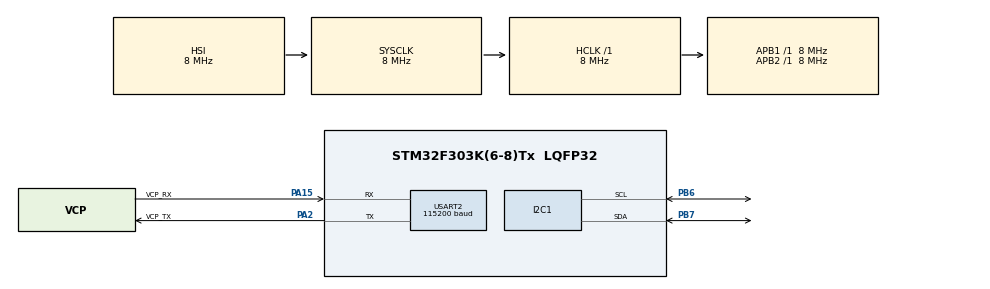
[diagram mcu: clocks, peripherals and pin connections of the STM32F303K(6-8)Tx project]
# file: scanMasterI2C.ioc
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Dma.I2C1_RX.0.Direction=DMA_PERIPH_TO_MEMORY
Dma.I2C1_RX.0.Instance=DMA1_Channel3
Dma.I2C1_RX.0.MemDataAlignment=DMA_MDATAALIGN_BYTE
Dma.I2C1_RX.0.MemInc=DMA_MINC_ENABLE
Dma.I2C1_RX.0.Mode=DMA_NORMAL
Dma.I2C1_RX.0.PeriphDataAlignment=DMA_PDATAALIGN_BYTE
Dma.I2C1_RX.0.PeriphInc=DMA_PINC_DISABLE
Dma.I2C1_RX.0.Priority=DMA_PRIORITY_LOW
Dma.I2C1_TX.1.Direction=DMA_MEMORY_TO_PERIPH
Dma.I2C1_TX.1.Instance=DMA1_Channel2
Dma.I2C1_TX.1.MemDataAlignment=DMA_MDATAALIGN_BYTE
Dma.I2C1_TX.1.MemInc=DMA_MINC_ENABLE
Dma.I2C1_TX.1.Mode=DMA_NORMAL
Dma.I2C1_TX.1.PeriphDataAlignment=DMA_PDATAALIGN_BYTE
Dma.I2C1_TX.1.PeriphInc=DMA_PINC_DISABLE
Dma.I2C1_TX.1.Priority=DMA_PRIORITY_LOW
Dma.Request0=I2C1_RX
Dma.Request1=I2C1_TX
I2C1.Timing=0x00201D2B
Mcu.Family=STM32F3
Mcu.Name=STM32F303K(6-8)Tx
Mcu.Package=LQFP32
NVIC.DMA1_Channel2_IRQn=true\:0\:0\:false\:false\:true\:false\:true\:true
NVIC.DMA1_Channel3_IRQn=true\:0\:0\:false\:false\:true\:false\:true\:true
NVIC.I2C1_ER_IRQn=true\:0\:0\:false\:false\:true\:true\:true\:true
NVIC.I2C1_EV_IRQn=true\:0\:0\:false\:false\:true\:true\:true\:true
NVIC.PriorityGroup=NVIC_PRIORITYGROUP_4
PA13.GPIO_Label=SWDIO
PA13.Mode=Serial_Wire
PA13.Signal=SYS_JTMS-SWDIO
PA14.GPIO_Label=SWCLK
PA14.Mode=Serial_Wire
PA14.Signal=SYS_JTCK-SWCLK
PA15.GPIO_Label=VCP_RX
PA15.Mode=Asynchronous
PA15.Signal=USART2_RX
PA2.GPIO_Label=VCP_TX
PA2.Mode=Asynchronous
PA2.Signal=USART2_TX
PB6.GPIO_Pu=GPIO_PULLUP
PB6.Mode=I2C
PB6.Signal=I2C1_SCL
PB7.GPIO_Pu=GPIO_PULLUP
PB7.Mode=I2C
PB7.Signal=I2C1_SDA
PF0\ /\ OSC_IN.GPIO_Label=MCO
PF0\ /\ OSC_IN.Mode=HSE-External-Clock-Source
PF0\ /\ OSC_IN.Signal=RCC_OSC_IN
ProjectManager.HeapSize=0x200
ProjectManager.StackSize=0x400
ProjectManager.TargetToolchain=STM32CubeIDE
RCC.AHBFreq_Value=8000000
RCC.APB1Freq_Value=8000000
RCC.APB2Freq_Value=8000000
RCC.CortexFreq_Value=8000000
RCC.HSE_VALUE=8000000
RCC.HSI_VALUE=8000000
RCC.SYSCLKFreq_VALUE=8000000
USART2.BaudRate=115200
USART2.VirtualMode-Asynchronous=VM_ASYNC
board=NUCLEO-F303K8

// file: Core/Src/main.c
/* USER CODE BEGIN Header */
/**
 ******************************************************************************
 * @file           : main.c
 * @brief          : Main program body
 ******************************************************************************
 * @attention
 *
 * Copyright (c) 2026 STMicroelectronics.
 * All rights reserved.
 *
 * This software is licensed under terms that can be found in the LICENSE file
 * in the root directory of this software component.
 * If no LICENSE file comes with this software, it is provided AS-IS.
 *
 ******************************************************************************
 */
/* USER CODE END Header */
#include "main.h"
#include "dma.h"
#include "i2c.h"
#include "usart.h"
#include "gpio.h"

/* USER CODE BEGIN Includes */
#include <stdio.h>
#include <string.h>

/* USER CODE END Includes */

/* USER CODE BEGIN PTD */

// ONLY REAS REGISTERS
#define POWERMGT_REG_SENSE_CNT		(10)
// ONLY REAS REGISTERS
#define POWERMGT_REG_CTL_CNT		(5) // 0x0A..0x0D,0x0F 5 control registers (read/write)

typedef struct powerMgmType {
	uint16_t sense[10];
	uint8_t control[8];
} tPowerMgmType;

/* USER CODE END PTD */

/* USER CODE BEGIN PD */
#define POWERMGT_REG_SIZE		(2)
#define POWERMGT_REG_READ_CNT   (POWERMGT_REG_SENSE_CNT +POWERMGT_REG_CTL_CNT)

// power mgt - STMicro
#define POWERMGT_I2C_ADDR		(0x16<<1)
// RTC
//#define POWERMGT_I2C_ADDR		(0x51<<1)
// TODO
//#define POWERMGT_I2C_ADDR		(0x57<<1)
// IMU
//#define POWERMGT_I2C_ADDR		(0x69<<1)

#define POWERMGT_REG_TEMP		(0x08)
/* USER CODE END PD */

/* USER CODE BEGIN PV */

tPowerMgmType regsSetPowerMan = { 0 };

const uint8_t hello[] = "\nhellorld";
const uint8_t timeStamp[] = "\n.";
/* USER CODE END PV */

void SystemClock_Config(void);

void showPowerCtlRegs(void) {
	// Register names per Power Controller user guide V4.0
	static const char *senseName[10] = {
		"Sense_CM4", "Sense_Lidar1", "Sense_Lidar2", "Sense_CanBus", "Sense_Accessory",
		"Sense_5V", "Sense_Batt", "Sense_MainPwr", "Temp", "VRefInt"
	};
	static const char *ctlName[6] = {
		"Enable_Lidar1", "Enable_Lidar2", "Enable_CanBus", "Enable_CM4", "Switch", "Voltage_Ctrl"
	};
	static const char *state[5] = { "", "OFF", "ON", "Starting", "Shutting down" };

	printf("\n=== Power Management Registers ===\n");
	printf("UID: %08lX-%08lX-%08lX\n", HAL_GetUIDw2(), HAL_GetUIDw1(), HAL_GetUIDw0());

	// Sense registers (0x00-0x09)
	printf("\n[Sense Registers]\n");
	for (uint8_t i = 0; i < 10; i++) {
		uint16_t raw = regsSetPowerMan.sense[i];
		if (i == 0x08) {
			// Temperature: signed, value x100
			int16_t t = (int16_t) raw;
			int16_t a = (t < 0) ? -t : t;
			printf("0x%02X %-18s = %s%d.%02d °C\n", i, senseName[i], (t < 0) ? "-" : "", a / 100, a % 100);
		} else if (i == 0x09) {
			printf("0x%02X %-18s = 0x%04X (do not use)\n", i, senseName[i], raw);
		} else {
			// Voltage: value x100
			printf("0x%02X %-18s = %u.%02u V\n", i, senseName[i], raw / 100, raw % 100);
		}
	}

	// Control registers (0x0A-0x0F)
	printf("\n[Control Registers]\n");
	for (uint8_t i = 0; i < 4; i++) {
		uint8_t val = regsSetPowerMan.control[i];
		printf("0x%02X %-18s = 0x%02X (%s)\n", 0x0A + i, ctlName[i], val, (val < 5) ? state[val] : "?");
	}

	// Register 0x0E: Switch
	{
		uint8_t val = regsSetPowerMan.control[4];
		bool P_bp = (val & 0x01) != 0;
		bool M_bp = (val & 0x10) != 0;
		printf("0x0E %-18s = 0x%02X (P_bp=%d, M_bp=%d)\n", ctlName[4], val, P_bp, M_bp);
	}

	// Register 0x0F: Voltage Control
	{
		uint8_t val = regsSetPowerMan.control[5];
		printf("0x0F %-18s = 0x%02X (%s)\n", ctlName[5], val, (val < 5) ? state[val] : "?");
	}

	printf("\n");
}

/* USER CODE BEGIN 0 */
int _write(int file, char *ptr, int len) {
	// Translate LF -> CRLF so a raw serial terminal returns to column 0
	// (otherwise lines "staircase" diagonally across the screen).
	for (int i = 0; i < len; i++) {
		if (ptr[i] == '\n') {
			uint8_t cr = '\r';
			HAL_UART_Transmit(&huart2, &cr, 1, HAL_MAX_DELAY);
		}
		HAL_UART_Transmit(&huart2, (uint8_t*) &ptr[i], 1, HAL_MAX_DELAY);
	}
	return len;
}

void HAL_I2C_MasterRxCpltCallback(I2C_HandleTypeDef *hi2c) {
	showPowerCtlRegs();
}

/* USER CODE END 0 */

int main(void) {

	/* MCU Configuration--------------------------------------------------------*/

	/* Reset of all peripherals, Initializes the Flash interface and the Systick. */
	HAL_Init();

	/* Configure the system clock */
	SystemClock_Config();

	/* Initialize all configured peripherals */
	MX_GPIO_Init();
	MX_DMA_Init();
	MX_I2C1_Init();
	MX_USART2_UART_Init();

	/* Infinite loop */
	/* USER CODE BEGIN WHILE */
	while (1) {

		// Clear the buffer before each read so a failed/absent slave shows zeros,
		// not the previous (stale) values.
		memset(&regsSetPowerMan, 0, sizeof(regsSetPowerMan));
		// Presence check: send the address only and look for an ACK. If the slave
		// truly NACKs (powered off and not parasitically driven), report it and
		// skip the read so no stale block is reprinted.
		if (HAL_I2C_IsDeviceReady(&hi2c1, POWERMGT_I2C_ADDR, 2, 10) != HAL_OK) {
			printf("\nI2C 0x%02X not responding", POWERMGT_I2C_ADDR >> 1);
		} else {
			HAL_I2C_Master_Receive_DMA(&hi2c1, POWERMGT_I2C_ADDR, (uint8_t*) &regsSetPowerMan, sizeof(regsSetPowerMan));
		}
//	  for(uint8_t iter = 0; iter <16; iter=iter+1)
//	  {

//		  HAL_I2C_Mem_Read(&hi2c1, POWERMGT_I2C_ADDR, iter,
//				  POWERMGT_REG_SIZE, (uint8_t *)&regsSetPowerMan[iter], POWERMGT_REG_SIZE, HAL_MAX_DELAY);

//		  HAL_I2C_Master_Transmit(&hi2c1, POWERMGT_I2C_ADDR, &iter, sizeof(iter), HAL_MAX_DELAY);
//
//		  HAL_I2C_Master_Receive(&hi2c1, POWERMGT_I2C_ADDR, (uint8_t *)&regsSetPowerMan[iter], POWERMGT_REG_SIZE, HAL_MAX_DELAY);

//	  }

//	  showPowerCtlRegs();
		/* USER CODE END WHILE */

		/* USER CODE BEGIN 3 */
		printf("%s", timeStamp);
		HAL_Delay(1000);
	}
	/* USER CODE END 3 */
}

void SystemClock_Config(void) {
	RCC_OscInitTypeDef RCC_OscInitStruct = { 0 };
	RCC_ClkInitTypeDef RCC_ClkInitStruct = { 0 };
	RCC_PeriphCLKInitTypeDef PeriphClkInit = { 0 };

	/** Initializes the RCC Oscillators according to the specified parameters
	 * in the RCC_OscInitTypeDef structure.
	 */
	RCC_OscInitStruct.OscillatorType = RCC_OSCILLATORTYPE_HSI;
	RCC_OscInitStruct.HSIState = RCC_HSI_ON;
	RCC_OscInitStruct.HSICalibrationValue = RCC_HSICALIBRATION_DEFAULT;
	RCC_OscInitStruct.PLL.PLLState = RCC_PLL_NONE;
	if (HAL_RCC_OscConfig(&RCC_OscInitStruct) != HAL_OK) {
		Error_Handler();
	}

	/** Initializes the CPU, AHB and APB buses clocks
	 */
	RCC_ClkInitStruct.ClockType = RCC_CLOCKTYPE_HCLK | RCC_CLOCKTYPE_SYSCLK | RCC_CLOCKTYPE_PCLK1 | RCC_CLOCKTYPE_PCLK2;
	RCC_ClkInitStruct.SYSCLKSource = RCC_SYSCLKSOURCE_HSI;
	RCC_ClkInitStruct.AHBCLKDivider = RCC_SYSCLK_DIV1;
	RCC_ClkInitStruct.APB1CLKDivider = RCC_HCLK_DIV1;
	RCC_ClkInitStruct.APB2CLKDivider = RCC_HCLK_DIV1;

	if (HAL_RCC_ClockConfig(&RCC_ClkInitStruct, FLASH_LATENCY_0) != HAL_OK) {
		Error_Handler();
	}
	PeriphClkInit.PeriphClockSelection = RCC_PERIPHCLK_I2C1;
	PeriphClkInit.I2c1ClockSelection = RCC_I2C1CLKSOURCE_HSI;
	if (HAL_RCCEx_PeriphCLKConfig(&PeriphClkInit) != HAL_OK) {
		Error_Handler();
	}
}

void Error_Handler(void) {
	__disable_irq();
	while (1) {
	}
}
